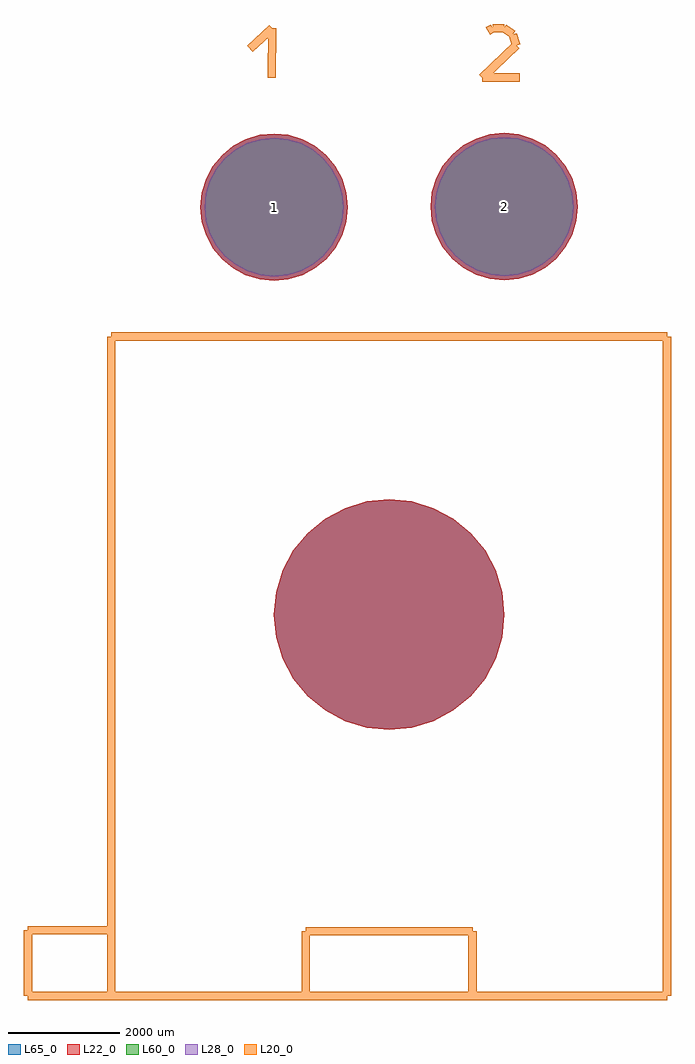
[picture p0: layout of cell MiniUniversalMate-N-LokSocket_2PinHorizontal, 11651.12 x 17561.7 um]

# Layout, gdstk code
import gdstk
lib = gdstk.Library(unit=1e-6, precision=1e-09)
def P(c, l, *ps):  # polygons
    for p in ps: c.add(gdstk.Polygon(p, *l))
L20_0 = (20, 0)
L22_0 = (22, 0)
L28_0 = (28, 0)
L60_0 = (60, 0)
L65_0 = (65, 0)

miniuniversalmate_n_loks = lib.new_cell('MiniUniversalMate-N-LokSocket_2PinHorizontal')
P(miniuniversalmate_n_loks, L22_0, [(-745.42,-10.16),(-770.873,248.272),(-846.255,496.773),(-968.669,725.793),(-1133.41,926.53),(-1334.147,1091.271),(-1563.167,1213.685),(-1811.668,1289.067),(-2070.1,1314.52),(-2328.532,1289.067),(-2577.033,1213.685),(-2806.053,1091.271),(-3006.79,926.53),(-3171.531,725.793),(-3293.945,496.773),(-3369.327,248.272),(-3394.78,-10.16),(-3369.327,-268.592),(-3293.945,-517.093),(-3171.531,-746.113),(-3006.79,-946.85),(-2806.053,-1111.591),(-2577.033,-1234.005),(-2328.532,-1309.387),(-2070.1,-1334.84),(-1811.668,-1309.387),(-1563.167,-1234.005),(-1334.147,-1111.591),(-1133.41,-946.85),(-968.669,-746.113),(-846.255,-517.093),(-770.873,-268.592)],
  [(2075.25,-7340.6),(2035.375,-6935.739),(1917.281,-6546.436),(1725.507,-6187.653),(1467.423,-5873.177),(1152.947,-5615.093),(794.164,-5423.319),(404.861,-5305.225),(0,-5265.35),(-404.861,-5305.225),(-794.164,-5423.319),(-1152.947,-5615.093),(-1467.423,-5873.177),(-1725.507,-6187.653),(-1917.281,-6546.436),(-2035.375,-6935.739),(-2075.25,-7340.6),(-2035.375,-7745.461),(-1917.281,-8134.764),(-1725.507,-8493.547),(-1467.423,-8808.023),(-1152.947,-9066.107),(-794.164,-9257.881),(-404.861,-9375.975),(0,-9415.85),(404.861,-9375.975),(794.164,-9257.881),(1152.947,-9066.107),(1467.423,-8808.023),(1725.507,-8493.547),(1917.281,-8134.764),(2035.375,-7745.461)],
  [(3394.78,0),(3369.327,258.432),(3293.945,506.933),(3171.531,735.953),(3006.79,936.69),(2806.053,1101.431),(2577.033,1223.845),(2328.532,1299.227),(2070.1,1324.68),(1811.668,1299.227),(1563.167,1223.845),(1334.147,1101.431),(1133.41,936.69),(968.669,735.953),(846.255,506.933),(770.873,258.432),(745.42,0),(770.873,-258.432),(846.255,-506.933),(968.669,-735.953),(1133.41,-936.69),(1334.147,-1101.431),(1563.167,-1223.845),(1811.668,-1299.227),(2070.1,-1324.68),(2328.532,-1299.227),(2577.033,-1223.845),(2806.053,-1101.431),(3006.79,-936.69),(3171.531,-735.953),(3293.945,-506.933),(3369.327,-258.432)])
P(miniuniversalmate_n_loks, L28_0, [(-820.42,-10.16),(-844.432,233.64),(-915.546,468.072),(-1031.029,684.125),(-1186.443,873.497),(-1375.815,1028.911),(-1591.868,1144.394),(-1826.3,1215.508),(-2070.1,1239.52),(-2313.9,1215.508),(-2548.332,1144.394),(-2764.385,1028.911),(-2953.757,873.497),(-3109.171,684.125),(-3224.654,468.072),(-3295.768,233.64),(-3319.78,-10.16),(-3295.768,-253.96),(-3224.654,-488.392),(-3109.171,-704.445),(-2953.757,-893.817),(-2764.385,-1049.231),(-2548.332,-1164.714),(-2313.9,-1235.828),(-2070.1,-1259.84),(-1826.3,-1235.828),(-1591.868,-1164.714),(-1375.815,-1049.231),(-1186.443,-893.817),(-1031.029,-704.445),(-915.546,-488.392),(-844.432,-253.96)],
  [(3319.78,0),(3295.768,243.8),(3224.654,478.232),(3109.171,694.285),(2953.757,883.657),(2764.385,1039.071),(2548.332,1154.554),(2313.9,1225.668),(2070.1,1249.68),(1826.3,1225.668),(1591.868,1154.554),(1375.815,1039.071),(1186.443,883.657),(1031.029,694.285),(915.546,478.232),(844.432,243.8),(820.42,0),(844.432,-243.8),(915.546,-478.232),(1031.029,-694.285),(1186.443,-883.657),(1375.815,-1039.071),(1591.868,-1154.554),(1826.3,-1225.668),(2070.1,-1249.68),(2313.9,-1225.668),(2548.332,-1154.554),(2764.385,-1039.071),(2953.757,-883.657),(3109.171,-694.285),(3224.654,-478.232),(3295.768,-243.8)])
P(miniuniversalmate_n_loks, L60_0, [(-820.42,-10.16),(-844.432,233.64),(-915.546,468.072),(-1031.029,684.125),(-1186.443,873.497),(-1375.815,1028.911),(-1591.868,1144.394),(-1826.3,1215.508),(-2070.1,1239.52),(-2313.9,1215.508),(-2548.332,1144.394),(-2764.385,1028.911),(-2953.757,873.497),(-3109.171,684.125),(-3224.654,468.072),(-3295.768,233.64),(-3319.78,-10.16),(-3295.768,-253.96),(-3224.654,-488.392),(-3109.171,-704.445),(-2953.757,-893.817),(-2764.385,-1049.231),(-2548.332,-1164.714),(-2313.9,-1235.828),(-2070.1,-1259.84),(-1826.3,-1235.828),(-1591.868,-1164.714),(-1375.815,-1049.231),(-1186.443,-893.817),(-1031.029,-704.445),(-915.546,-488.392),(-844.432,-253.96)],
  [(3319.78,0),(3295.768,243.8),(3224.654,478.232),(3109.171,694.285),(2953.757,883.657),(2764.385,1039.071),(2548.332,1154.554),(2313.9,1225.668),(2070.1,1249.68),(1826.3,1225.668),(1591.868,1154.554),(1375.815,1039.071),(1186.443,883.657),(1031.029,694.285),(915.546,478.232),(844.432,243.8),(820.42,0),(844.432,-243.8),(915.546,-478.232),(1031.029,-694.285),(1186.443,-883.657),(1375.815,-1039.071),(1591.868,-1154.554),(1826.3,-1225.668),(2070.1,-1249.68),(2313.9,-1225.668),(2548.332,-1154.554),(2764.385,-1039.071),(2953.757,-883.657),(3109.171,-694.285),(3224.654,-478.232),(3295.768,-243.8)])
P(miniuniversalmate_n_loks, L65_0, [(-745.42,-10.16),(-770.873,248.272),(-846.255,496.773),(-968.669,725.793),(-1133.41,926.53),(-1334.147,1091.271),(-1563.167,1213.685),(-1811.668,1289.067),(-2070.1,1314.52),(-2328.532,1289.067),(-2577.033,1213.685),(-2806.053,1091.271),(-3006.79,926.53),(-3171.531,725.793),(-3293.945,496.773),(-3369.327,248.272),(-3394.78,-10.16),(-3369.327,-268.592),(-3293.945,-517.093),(-3171.531,-746.113),(-3006.79,-946.85),(-2806.053,-1111.591),(-2577.033,-1234.005),(-2328.532,-1309.387),(-2070.1,-1334.84),(-1811.668,-1309.387),(-1563.167,-1234.005),(-1334.147,-1111.591),(-1133.41,-946.85),(-968.669,-746.113),(-846.255,-517.093),(-770.873,-268.592)],
  [(2075.25,-7340.6),(2035.375,-6935.739),(1917.281,-6546.436),(1725.507,-6187.653),(1467.423,-5873.177),(1152.947,-5615.093),(794.164,-5423.319),(404.861,-5305.225),(0,-5265.35),(-404.861,-5305.225),(-794.164,-5423.319),(-1152.947,-5615.093),(-1467.423,-5873.177),(-1725.507,-6187.653),(-1917.281,-6546.436),(-2035.375,-6935.739),(-2075.25,-7340.6),(-2035.375,-7745.461),(-1917.281,-8134.764),(-1725.507,-8493.547),(-1467.423,-8808.023),(-1152.947,-9066.107),(-794.164,-9257.881),(-404.861,-9375.975),(0,-9415.85),(404.861,-9375.975),(794.164,-9257.881),(1152.947,-9066.107),(1467.423,-8808.023),(1725.507,-8493.547),(1917.281,-8134.764),(2035.375,-7745.461)],
  [(3394.78,0),(3369.327,258.432),(3293.945,506.933),(3171.531,735.953),(3006.79,936.69),(2806.053,1101.431),(2577.033,1223.845),(2328.532,1299.227),(2070.1,1324.68),(1811.668,1299.227),(1563.167,1223.845),(1334.147,1101.431),(1133.41,936.69),(968.669,735.953),(846.255,506.933),(770.873,258.432),(745.42,0),(770.873,-258.432),(846.255,-506.933),(968.669,-735.953),(1133.41,-936.69),(1334.147,-1101.431),(1563.167,-1223.845),(1811.668,-1299.227),(2070.1,-1324.68),(2328.532,-1299.227),(2577.033,-1223.845),(2806.053,-1101.431),(3006.79,-936.69),(3171.531,-735.953),(3293.945,-506.933),(3369.327,-258.432)])
miniuniversalmate_n_loks.add(gdstk.FlexPath([(-2103.12,3210.56),(-2113.28,2321.56)], 149.998, ends="flush", simple_path=True, layer=20, datatype=0))  # L20_0
miniuniversalmate_n_loks.add(gdstk.FlexPath([(-2501.9,2839.72),(-2103.12,3210.56)], 149.998, ends="flush", simple_path=True, layer=20, datatype=0))  # L20_0
miniuniversalmate_n_loks.add(gdstk.FlexPath([(1676.4,2321.56),(2346.96,2321.56)], 149.998, ends="flush", simple_path=True, layer=20, datatype=0))  # L20_0
miniuniversalmate_n_loks.add(gdstk.FlexPath([(2286,2900.68),(1676.4,2321.56)], 149.998, ends="flush", simple_path=True, layer=20, datatype=0))  # L20_0
miniuniversalmate_n_loks.add(gdstk.FlexPath([(2227.58,3101.34),(2286,2900.68)], 149.998, ends="flush", simple_path=True, layer=20, datatype=0))  # L20_0
miniuniversalmate_n_loks.add(gdstk.FlexPath([(2067.56,3210.56),(2227.58,3101.34)], 149.998, ends="flush", simple_path=True, layer=20, datatype=0))  # L20_0
miniuniversalmate_n_loks.add(gdstk.FlexPath([(1866.9,3210.56),(2067.56,3210.56)], 149.998, ends="flush", simple_path=True, layer=20, datatype=0))  # L20_0
miniuniversalmate_n_loks.add(gdstk.FlexPath([(1778,3159.76),(1866.9,3210.56)], 149.998, ends="flush", simple_path=True, layer=20, datatype=0))  # L20_0
miniuniversalmate_n_loks.add(gdstk.FlexPath([(0,-14201.14),(5001.26,-14201.14)], 149.998, ends="flush", simple_path=True, layer=20, datatype=0))  # L20_0
miniuniversalmate_n_loks.add(gdstk.FlexPath([(0,-14201.14),(-5001.26,-14201.14)], 149.998, ends="flush", simple_path=True, layer=20, datatype=0))  # L20_0
miniuniversalmate_n_loks.add(gdstk.FlexPath([(5001.26,-2339.34),(5001.26,-14201.14)], 149.998, ends="flush", simple_path=True, layer=20, datatype=0))  # L20_0
miniuniversalmate_n_loks.add(gdstk.FlexPath([(-5001.26,-2339.34),(5001.26,-2339.34)], 149.998, ends="flush", simple_path=True, layer=20, datatype=0))  # L20_0
miniuniversalmate_n_loks.add(gdstk.FlexPath([(-5001.26,-14201.14),(-5001.26,-2339.34)], 149.998, ends="flush", simple_path=True, layer=20, datatype=0))  # L20_0
miniuniversalmate_n_loks.add(gdstk.FlexPath([(-1501.14,-13040.36),(-1501.14,-14201.14)], 149.998, ends="flush", simple_path=True, layer=20, datatype=0))  # L20_0
miniuniversalmate_n_loks.add(gdstk.FlexPath([(1501.14,-13040.36),(-1501.14,-13040.36)], 149.998, ends="flush", simple_path=True, layer=20, datatype=0))  # L20_0
miniuniversalmate_n_loks.add(gdstk.FlexPath([(1501.14,-14201.14),(1501.14,-13040.36)], 149.998, ends="flush", simple_path=True, layer=20, datatype=0))  # L20_0
miniuniversalmate_n_loks.add(gdstk.FlexPath([(-6499.86,-13020.04),(-5001.26,-13020.04)], 149.998, ends="flush", simple_path=True, layer=20, datatype=0))  # L20_0
miniuniversalmate_n_loks.add(gdstk.FlexPath([(-6499.86,-14201.14),(-6499.86,-13020.04)], 149.998, ends="flush", simple_path=True, layer=20, datatype=0))  # L20_0
miniuniversalmate_n_loks.add(gdstk.FlexPath([(-5001.26,-14201.14),(-6499.86,-14201.14)], 149.998, ends="flush", simple_path=True, layer=20, datatype=0))  # L20_0
miniuniversalmate_n_loks.add(gdstk.Label('1', (-2070.1,-10.16), layer=28, texttype=0))
miniuniversalmate_n_loks.add(gdstk.Label('2', (2070.1,0), layer=28, texttype=0))
miniuniversalmate_n_loks.add(gdstk.Label('type', (-160.02,-17840.96), layer=9, texttype=0))
miniuniversalmate_n_loks.add(gdstk.Label('devicename', (71.12,5430.52), layer=9, texttype=0))

lib.write_gds('MiniUniversalMate-N-LokSocket_2PinHorizontal.gds')
